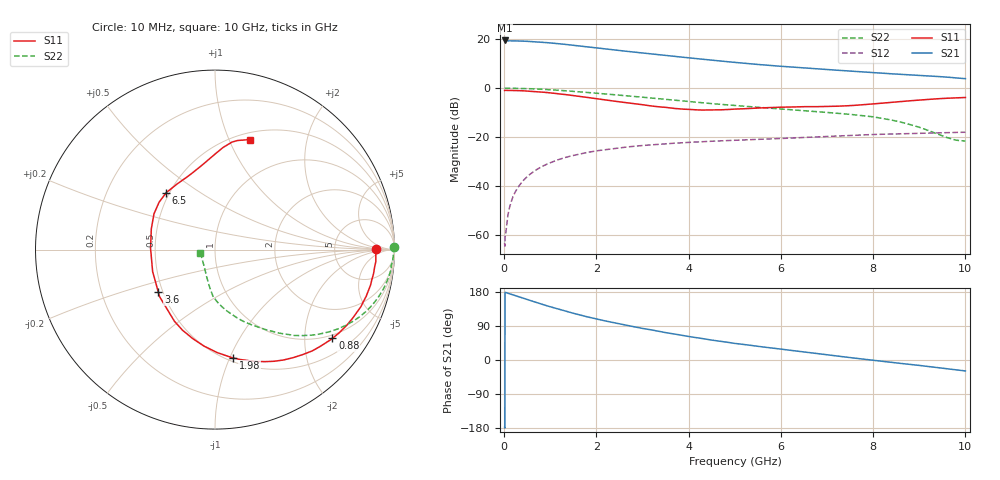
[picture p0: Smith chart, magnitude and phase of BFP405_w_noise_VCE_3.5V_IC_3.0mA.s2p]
! Infineon Technologies  Discrete & RF Semiconductors
! BFP405
! VCE =  3.5 V,  IC =  3.0 mA
! Common Emitter S-Parameters:  Jan 2016
# GHz  S  MA  R  50
!  f  S11  S21  S12  S22
! GHz  MAG  ANG  MAG  ANG  MAG  ANG  MAG  ANG
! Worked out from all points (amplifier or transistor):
!   233 points, 10 MHz to 10 GHz, reference 50 ohm
!   highest |S21| = 19.4 dB at 10 MHz (marker M1)
!   |S21| within 3 dB of that: start of sweep to 1.99 GHz
!   unconditionally stable (mu >= 1): 11.83 MHz to 15.38 MHz; 4.034 GHz to end of sweep
!   at 200 MHz: K = 0.08, MSG = 31.6 dB, |S12| = -43.9 dB
!   at 1.74 GHz: K = 0.40, MSG = 21.7 dB, |S12| = -26.4 dB
!   at 10 GHz: K = 1.55, MAG = 6.5 dB, |S12| = -18.0 dB
!   lowest NFmin = 0.98 dB at 900 MHz
!   S11 on the Smith chart (normalised r, x): 10 MHz: 18, +1; 880 MHz: 0.90, -2.71; 1.98 GHz: 0.53, -1.03; 3.6 GHz: 0.47, -0.26; 6.5 GHz: 0.48, +0.37; 10 GHz: 0.57, +1.20
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0.01  0.8946 0.2  9.354 -177.6  0.0007 -17.9  0.9959 0.9
0.015  0.8976 -0.3  9.297 -179.6  0.0006 24.4  0.9936 0.5
0.02  0.9006 -0.7  9.251 178.4  0.0009 56.0  0.9913 0.0
0.1  0.8987 -4.2  9.214 175.3  0.0032 82.9  0.9944 -2.0
0.22  0.892 -9.3  9.167 170.8  0.007 83.7  0.9885 -4.5
0.5  0.873 -21.3  8.987 159.7  0.0157 78.8  0.9753 -10.2
0.88  0.8199 -37.1  8.519 144.9  0.0268 71.2  0.9398 -17.6
1.1  0.7826 -46.1  8.182 136.8  0.0329 66.8  0.9138 -21.7
1.3  0.7435 -54.0  7.828 129.9  0.0379 63.1  0.8866 -25.1
1.68  0.6686 -68.8  7.158 117.7  0.0464 56.6  0.8324 -31.0
1.98  0.612 -80.4  6.638 108.9  0.0521 52.0  0.7897 -35.2
2.6  0.5113 -104.0  5.697 92.7  0.0621 44.0  0.7046 -42.7
3  0.4588 -119.5  5.192 83.4  0.0676 39.4  0.6521 -47.2
3.4  0.4115 -135.2  4.735 74.7  0.0723 35.3  0.601 -51.2
3.6  0.3938 -143.4  4.531 70.4  0.0744 33.4  0.577 -53.2
4  0.3684 -160.6  4.148 62.0  0.0784 29.8  0.5317 -57.3
4.5  0.3591 178.7  3.717 52.5  0.0827 25.7  0.4828 -62.2
5.1  0.376 159.3  3.275 42.4  0.0872 21.6  0.4343 -67.9
6.5  0.418 130.6  2.586 21.1  0.0986 13.8  0.3474 -79.2
6.8  0.4188 124.0  2.466 16.7  0.1014 12.0  0.3302 -81.6
8.4  0.5136 92.5  1.956 -6.2  0.1161 1.0  0.2231 -96.6
10  0.6436 72.3  1.555 -28.9  0.126 -9.4  0.0833 -166.6
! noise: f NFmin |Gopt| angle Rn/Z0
0.9  0.98  0.49  14  0.37
1.8  1.3  0.39  24  0.34
2.4  1.48  0.33  33  0.33
3  1.51  0.31  50  0.31
4  1.71  0.19  75  0.25
5  2.06  0.14  114  0.21
